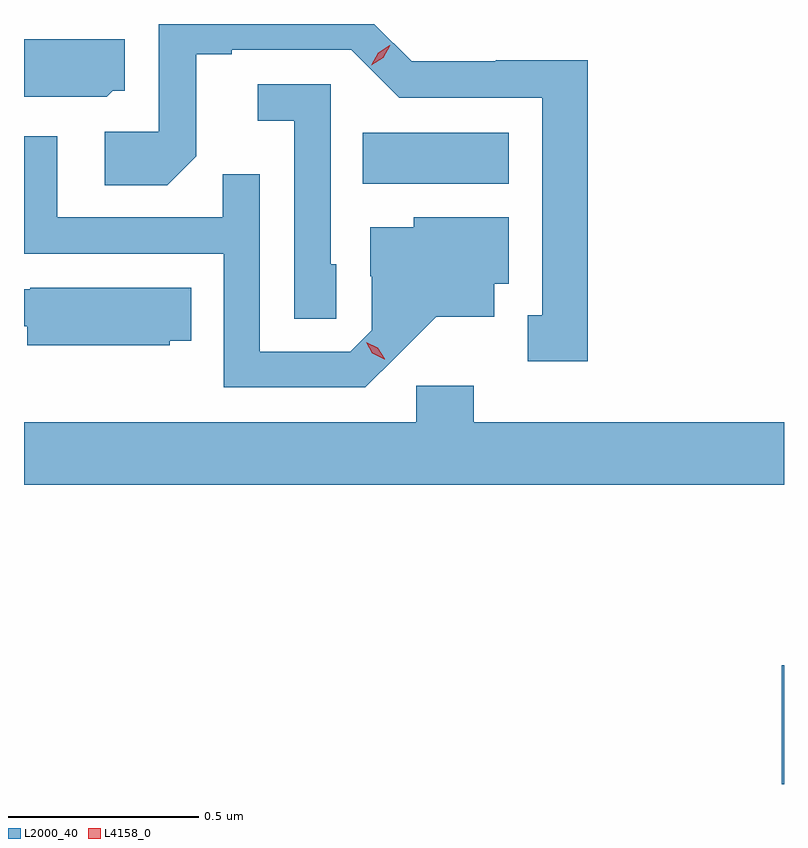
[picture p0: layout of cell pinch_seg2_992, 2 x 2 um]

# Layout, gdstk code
import gdstk
lib = gdstk.Library(unit=1e-6, precision=1e-09)
def R(c, l, rs):  # rectangles x0, y0, x1, y1
    for r in rs: c.add(gdstk.rectangle(r[:2], r[2:], *l))
def P(c, l, *ps):  # polygons
    for p in ps: c.add(gdstk.Polygon(p, *l))
L2000_40 = (2000, 40)
L4158_0 = (4158, 0)

pinch_seg2_992 = lib.new_cell('pinch_seg2_992')
R(pinch_seg2_992, L2000_40, [(329.168,633.528,329.174,633.84), (328.066,635.108,328.45,635.242)])
P(pinch_seg2_992, L2000_40, [(328.657,635.432),(328.416,635.432),(328.416,635.43),(328.194,635.43),(328.096,635.528),(327.528,635.528),(327.528,635.244),(327.387,635.244),(327.387,635.104),(327.551,635.104),(327.627,635.18),(327.627,635.448),(327.721,635.448),(327.721,635.46),(328.035,635.46),(328.161,635.334),(328.538,635.334),(328.538,634.761),(328.499,634.761),(328.499,634.641),(328.657,634.641)],
  [(327.408,635.352),(327.439,635.352),(327.439,635.488),(327.174,635.488),(327.174,635.337),(327.258,635.337),(327.258,635.336),(327.392,635.336)],
  [(327.996,634.896),(327.981,634.896),(327.981,635.37),(327.789,635.37),(327.789,635.273),(327.885,635.273),(327.885,634.753),(327.996,634.753)],
  [(328.156,634.655),(328.259,634.757),(328.411,634.757),(328.411,634.844),(328.45,634.844),(328.45,635.02),(328.2,635.02),(328.2,634.993),(328.085,634.993),(328.085,634.864),(328.089,634.864),(328.089,634.722),(328.032,634.665),(327.795,634.665),(327.795,635.132),(327.697,635.132),(327.697,635.019),(327.261,635.019),(327.261,635.233),(327.174,635.233),(327.174,634.923),(327.699,634.923),(327.699,634.572),(328.072,634.572)],
  [(327.558,634.694),(327.614,634.694),(327.614,634.834),(327.19,634.834),(327.19,634.83),(327.174,634.83),(327.174,634.733),(327.182,634.733),(327.182,634.682),(327.558,634.682)],
  [(329.174,634.48),(328.358,634.48),(328.358,634.576),(328.206,634.576),(328.206,634.48),(327.174,634.48),(327.174,634.316),(329.174,634.316)])
P(pinch_seg2_992, L4158_0, [(328.088,635.42),(328.088,635.42),(328.106,635.453),(328.137,635.472),(328.138,635.472),(328.138,635.472),(328.12,635.439),(328.088,635.42)],
  [(328.122,634.646),(328.091,634.661),(328.074,634.69),(328.074,634.69),(328.074,634.69),(328.105,634.676),(328.123,634.647),(328.123,634.646)])

lib.write_gds('pinch_seg2_992.gds')
